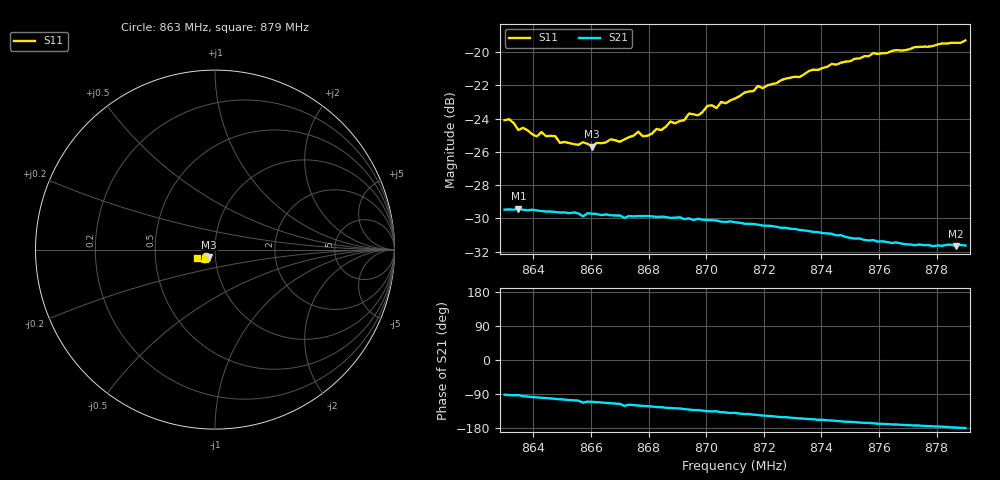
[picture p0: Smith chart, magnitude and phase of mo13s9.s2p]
# HZ S RI R 50
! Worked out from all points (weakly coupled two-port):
!   101 points, 863 MHz to 879 MHz, reference 50 ohm
!   highest |S21| = -29.42 dB at 863.48 MHz (marker M1); lowest = -31.7 dB at 878.68 MHz (marker M2)
!   lowest |S11| = -25.7 dB at 866.04 MHz (marker M3), VSWR 1.11, Z = 46.7 - j3.79 ohm
!   |S11| at or under -10 dB: start of sweep to end of sweep
!   S12 and S22 are empty: the file has one direction only
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8.63e8  -0.049 -0.0387  -0.000849 -0.0336  0 0  0 0
8.6316e8  -0.0489 -0.0395  -0.0015 -0.0336  0 0  0 0
8.6348e8  -0.044 -0.0382  -0.00145 -0.0338  0 0  0 0
8.6476e8  -0.0394 -0.0396  -0.0072 -0.0323  0 0  0 0
8.6492e8  -0.0367 -0.0387  -0.00776 -0.032  0 0  0 0
8.6572e8  -0.0342 -0.0412  -0.0123 -0.0296  0 0  0 0
8.6604e8  -0.0327 -0.0404  -0.0114 -0.0306  0 0  0 0
8.6668e8  -0.0322 -0.0442  -0.0131 -0.0295  0 0  0 0
8.67e8  -0.0299 -0.0447  -0.014 -0.0291  0 0  0 0
8.6764e8  -0.0304 -0.0489  -0.0161 -0.0278  0 0  0 0
8.678e8  -0.0286 -0.048  -0.0166 -0.0275  0 0  0 0
8.6844e8  -0.0285 -0.0508  -0.0182 -0.0263  0 0  0 0
8.6876e8  -0.0303 -0.054  -0.0189 -0.0254  0 0  0 0
8.6972e8  -0.0286 -0.0578  -0.0211 -0.0234  0 0  0 0
8.7004e8  -0.0331 -0.0605  -0.0221 -0.0221  0 0  0 0
8.7036e8  -0.0309 -0.0604  -0.0222 -0.0219  0 0  0 0
8.71e8  -0.0341 -0.064  -0.0233 -0.02  0 0  0 0
8.718e8  -0.0413 -0.0675  -0.0248 -0.0173  0 0  0 0
8.7372e8  -0.0541 -0.0702  -0.0263 -0.0116  0 0  0 0
8.7644e8  -0.0788 -0.0628  -0.0262 -0.00462  0 0  0 0
8.7868e8  -0.0955 -0.0475  -0.0261 -0.000778  0 0  0 0
8.79e8  -0.099 -0.0444  -0.0262 -0.000254  0 0  0 0
